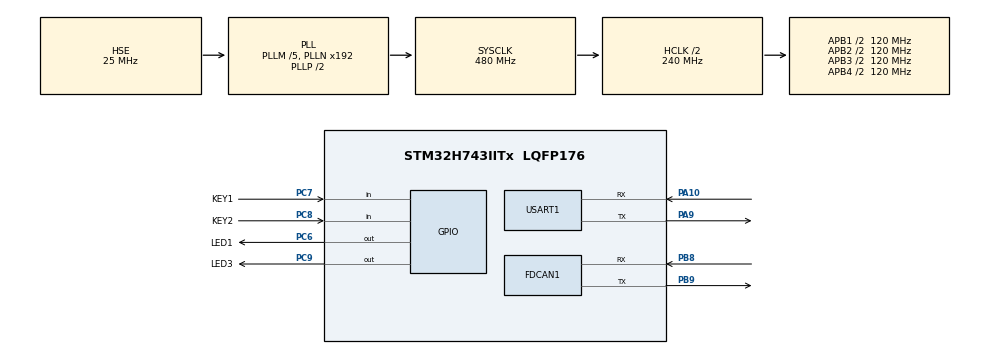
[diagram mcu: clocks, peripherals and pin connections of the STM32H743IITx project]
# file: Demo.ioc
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FDCAN1.CalculateBaudRateNominal=500000
FDCAN1.CalculateTimeBitNominal=2000
FDCAN1.CalculateTimeQuantumNominal=222.22222222222223
FDCAN1.NominalPrescaler=8
FDCAN1.NominalTimeSeg1=5
FDCAN1.NominalTimeSeg2=3
FDCAN1.RxFifo0ElmtsNbr=8
FDCAN1.StdFiltersNbr=1
FDCAN1.TxFifoQueueElmtsNbr=3
Mcu.Family=STM32H7
Mcu.Name=STM32H743IITx
Mcu.Package=LQFP176
NVIC.FDCAN1_IT0_IRQn=true\:5\:0\:false\:false\:true\:true\:true\:true
NVIC.PriorityGroup=NVIC_PRIORITYGROUP_4
NVIC.TIM6_DAC_IRQn=true\:15\:0\:false\:false\:true\:false\:true\:true
NVIC.TimeBase=TIM6_DAC_IRQn
NVIC.TimeBaseIP=TIM6
PA10.Mode=Asynchronous
PA10.Signal=USART1_RX
PA9.Mode=Asynchronous
PA9.Signal=USART1_TX
PB8.Mode=FDCAN_Activate
PB8.Signal=FDCAN1_RX
PB9.Mode=FDCAN_Activate
PB9.Signal=FDCAN1_TX
PC6.GPIO_Label=LED1
PC6.Signal=GPIO_Output
PC7.GPIO_Label=KEY1
PC7.GPIO_PuPd=GPIO_PULLUP
PC7.Signal=GPIO_Input
PC8.GPIO_Label=KEY2
PC8.GPIO_PuPd=GPIO_PULLUP
PC8.Signal=GPIO_Input
PC9.GPIO_Label=LED3
PC9.Signal=GPIO_Output
PH0-OSC_IN\ (PH0).Mode=HSE-External-Oscillator
PH0-OSC_IN\ (PH0).Signal=RCC_OSC_IN
PH1-OSC_OUT\ (PH1).Mode=HSE-External-Oscillator
PH1-OSC_OUT\ (PH1).Signal=RCC_OSC_OUT
ProjectManager.HeapSize=0x200
ProjectManager.StackSize=0x400
ProjectManager.TargetToolchain=CMake
RCC.ADCFreq_Value=90000000
RCC.APB1Freq_Value=120000000
RCC.APB2Freq_Value=120000000
RCC.APB3Freq_Value=120000000
RCC.APB4Freq_Value=120000000
RCC.CortexFreq_Value=480000000
RCC.D1PPRE=RCC_APB3_DIV2
RCC.D2PPRE1=RCC_APB1_DIV2
RCC.D2PPRE2=RCC_APB2_DIV2
RCC.D3PPRE=RCC_APB4_DIV2
RCC.DIVM1=5
RCC.DIVM2=25
RCC.DIVM3=20
RCC.DIVN1=192
RCC.DIVN2=180
RCC.DIVN3=160
RCC.DIVQ2=5
RCC.FDCANCLockSelection=RCC_FDCANCLKSOURCE_PLL2
RCC.HCLKFreq_Value=240000000
RCC.HPRE=RCC_HCLK_DIV2
RCC.PLLSourceVirtual=RCC_PLLSOURCE_HSE
RCC.SYSCLKFreq_VALUE=480000000
RCC.SYSCLKSource=RCC_SYSCLKSOURCE_PLLCLK
RCC.USBFreq_Value=480000000
USART1.VirtualMode-Asynchronous=VM_ASYNC
VP_MEMORYMAP_VS_MEMORYMAP.Mode=CurAppReg
VP_SYS_VS_tim6.Mode=TIM6
board=custom

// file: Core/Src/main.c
/* USER CODE BEGIN Header */
/**
  ******************************************************************************
  * @file           : main.c
  * @brief          : Main program body
  ******************************************************************************
  * @attention
  *
  * Copyright (c) 2026 STMicroelectronics.
  * All rights reserved.
  *
  * This software is licensed under terms that can be found in the LICENSE file
  * in the root directory of this software component.
  * If no LICENSE file comes with this software, it is provided AS-IS.
  *
  ******************************************************************************
  */
/* USER CODE END Header */
#include "main.h"
#include "fdcan.h"
#include "usart.h"
#include "gpio.h"

/* USER CODE BEGIN Includes */
#include "FreeRTOS.h"
#include "task.h"
#include "drv_can.h"
#include "drv_print.h"
/* USER CODE END Includes */

void SystemClock_Config(void);

/* USER CODE BEGIN 0 */
void vLED1Task(void *pvParameters)
{
	for(;;)
	{
		HAL_GPIO_WritePin(LED1_GPIO_Port, LED1_Pin, GPIO_PIN_SET); // ��
		vTaskDelay(pdMS_TO_TICKS(500));
		HAL_GPIO_WritePin(LED1_GPIO_Port, LED1_Pin, GPIO_PIN_RESET); // ��
		vTaskDelay(pdMS_TO_TICKS(500));
	}
}

void vCanSend_Task(void *pvParameters)
{
  uint8_t info[8] = {0};
  for(;;)
  {
    Can_Send(0x101, info, sizeof(info));
    vTaskDelay(pdMS_TO_TICKS(500));
  }
}

/* USER CODE END 0 */

int main(void)
{

  /* MCU Configuration--------------------------------------------------------*/

  /* Reset of all peripherals, Initializes the Flash interface and the Systick. */
  HAL_Init();

  /* Configure the system clock */
  SystemClock_Config();

  /* Initialize all configured peripherals */
  MX_GPIO_Init();
  MX_USART1_UART_Init();
  MX_FDCAN1_Init();
  /* USER CODE BEGIN 2 */
  printf_init();
  FDCAN_Init();
	xTaskCreate(vLED1Task, "LED1", 128, NULL, 1, NULL); // ����LED1����
  if (xTaskCreate(Can_CommunicationTask, "CanComm", 384, NULL, 2, NULL) != pdPASS)
  {
    Error_Handler();
  }
  if (xTaskCreate(Can_ReportTask, "CanLog", 512, NULL, 1, NULL) != pdPASS)
  {
    Error_Handler();
  }
	vTaskStartScheduler(); // ����������
  /* USER CODE END 2 */

  /* Infinite loop */
  while (1)
  {

  }
}

void SystemClock_Config(void)
{
  RCC_OscInitTypeDef RCC_OscInitStruct = {0};
  RCC_ClkInitTypeDef RCC_ClkInitStruct = {0};

  /** Supply configuration update enable
  */
  HAL_PWREx_ConfigSupply(PWR_LDO_SUPPLY);

  /** Configure the main internal regulator output voltage
  */
  __HAL_PWR_VOLTAGESCALING_CONFIG(PWR_REGULATOR_VOLTAGE_SCALE0);

  while(!__HAL_PWR_GET_FLAG(PWR_FLAG_VOSRDY)) {}

  /** Initializes the RCC Oscillators according to the specified parameters
  * in the RCC_OscInitTypeDef structure.
  */
  RCC_OscInitStruct.OscillatorType = RCC_OSCILLATORTYPE_HSE;
  RCC_OscInitStruct.HSEState = RCC_HSE_ON;
  RCC_OscInitStruct.PLL.PLLState = RCC_PLL_ON;
  RCC_OscInitStruct.PLL.PLLSource = RCC_PLLSOURCE_HSE;
  RCC_OscInitStruct.PLL.PLLM = 5;
  RCC_OscInitStruct.PLL.PLLN = 192;
  RCC_OscInitStruct.PLL.PLLP = 2;
  RCC_OscInitStruct.PLL.PLLQ = 2;
  RCC_OscInitStruct.PLL.PLLR = 2;
  RCC_OscInitStruct.PLL.PLLRGE = RCC_PLL1VCIRANGE_2;
  RCC_OscInitStruct.PLL.PLLVCOSEL = RCC_PLL1VCOWIDE;
  RCC_OscInitStruct.PLL.PLLFRACN = 0;
  if (HAL_RCC_OscConfig(&RCC_OscInitStruct) != HAL_OK)
  {
    Error_Handler();
  }

  /** Initializes the CPU, AHB and APB buses clocks
  */
  RCC_ClkInitStruct.ClockType = RCC_CLOCKTYPE_HCLK|RCC_CLOCKTYPE_SYSCLK
                              |RCC_CLOCKTYPE_PCLK1|RCC_CLOCKTYPE_PCLK2
                              |RCC_CLOCKTYPE_D3PCLK1|RCC_CLOCKTYPE_D1PCLK1;
  RCC_ClkInitStruct.SYSCLKSource = RCC_SYSCLKSOURCE_PLLCLK;
  RCC_ClkInitStruct.SYSCLKDivider = RCC_SYSCLK_DIV1;
  RCC_ClkInitStruct.AHBCLKDivider = RCC_HCLK_DIV2;
  RCC_ClkInitStruct.APB3CLKDivider = RCC_APB3_DIV2;
  RCC_ClkInitStruct.APB1CLKDivider = RCC_APB1_DIV2;
  RCC_ClkInitStruct.APB2CLKDivider = RCC_APB2_DIV2;
  RCC_ClkInitStruct.APB4CLKDivider = RCC_APB4_DIV2;

  if (HAL_RCC_ClockConfig(&RCC_ClkInitStruct, FLASH_LATENCY_4) != HAL_OK)
  {
    Error_Handler();
  }
}

void HAL_TIM_PeriodElapsedCallback(TIM_HandleTypeDef *htim)
{
  if (htim->Instance == TIM6)
  {
    HAL_IncTick();
  }
}

void Error_Handler(void)
{
  __disable_irq();
  while (1)
  {
  }
}
